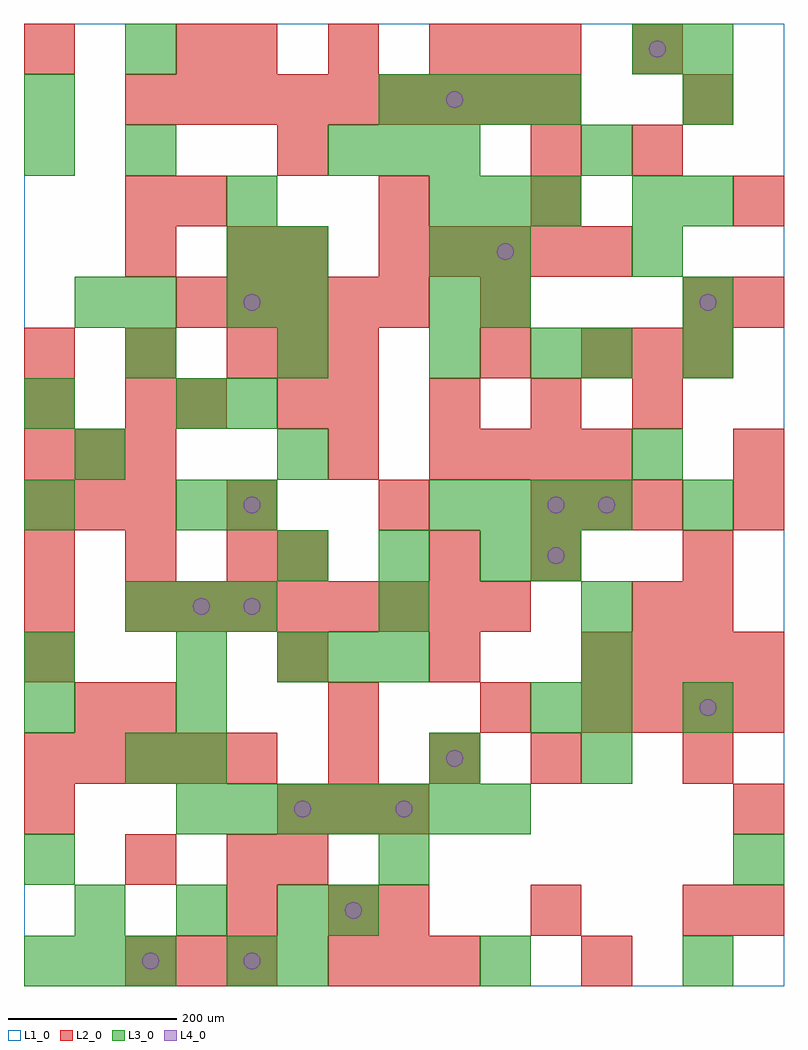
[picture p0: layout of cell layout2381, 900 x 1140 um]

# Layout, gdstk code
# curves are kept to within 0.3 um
import gdstk
lib = gdstk.Library(unit=1e-6, precision=1e-09)
def R(c, l, rs):  # rectangles x0, y0, x1, y1
    for r in rs: c.add(gdstk.rectangle(r[:2], r[2:], *l))
def A(c, l, x, y, w, h, nx, ny, dx, dy):  # array of equal rectangles
    R(c, l, [(x+i*dx, y+j*dy, x+i*dx+w, y+j*dy+h) for i in range(nx) for j in range(ny)])
def P(c, l, *ps):  # polygons
    for p in ps: c.add(gdstk.Polygon(p, *l))
L1_0 = (1, 0)
L2_0 = (2, 0)
L3_0 = (3, 0)
L4_0 = (4, 0)

layout2381 = lib.new_cell('layout2381')
R(layout2381, L1_0, [(0,0,900,1140)])
A(layout2381, L2_0, 120, 0, 60, 60, 3, 1, 60, 0)
A(layout2381, L2_0, 360, 0, 60, 60, 3, 1, 60, 0)
A(layout2381, L2_0, 420, 60, 60, 60, 3, 1, 180, 0)
A(layout2381, L2_0, 300, 180, 60, 60, 3, 1, 60, 0)
A(layout2381, L2_0, 0, 240, 60, 60, 5, 1, 60, 0)
A(layout2381, L2_0, 360, 240, 60, 60, 3, 1, 120, 0)
A(layout2381, L2_0, 660, 300, 60, 60, 4, 1, 60, 0)
A(layout2381, L2_0, 300, 360, 60, 60, 3, 1, 180, 0)
A(layout2381, L2_0, 720, 360, 60, 60, 3, 1, 60, 0)
A(layout2381, L2_0, 120, 420, 60, 60, 8, 1, 60, 0)
A(layout2381, L2_0, 0, 480, 60, 60, 3, 2, 120, 240)
A(layout2381, L2_0, 0, 540, 60, 60, 3, 2, 60, 60)
A(layout2381, L2_0, 240, 540, 60, 60, 3, 1, 180, 0)
A(layout2381, L2_0, 480, 600, 60, 60, 4, 1, 60, 0)
A(layout2381, L2_0, 360, 660, 60, 60, 4, 1, 120, 0)
A(layout2381, L2_0, 300, 720, 60, 60, 1, 3, 0, 120)
A(layout2381, L2_0, 660, 720, 60, 60, 3, 1, 60, 0)
A(layout2381, L2_0, 180, 780, 60, 60, 5, 1, 60, 0)
A(layout2381, L2_0, 420, 840, 60, 60, 5, 1, 60, 0)
A(layout2381, L2_0, 120, 1020, 60, 60, 9, 1, 60, 0)
A(layout2381, L2_0, 240, 1080, 60, 60, 3, 1, 120, 0)
R(layout2381, L2_0, [(660,0,720,60), (240,60,300,120), (360,60,420,120), (840,60,900,120), (120,120,180,180), (240,120,300,180), (300,120,360,180), (0,180,60,240), (840,180,900,240), (780,240,840,300), (60,300,120,360), (120,300,180,360), (360,300,420,360), (540,300,600,360), (0,360,60,420), (0,420,60,480), (720,420,780,480), (780,420,840,480), (300,480,360,540), (480,480,540,540), (600,480,660,540), (780,480,840,540), (660,540,720,600), (720,540,780,600), (840,540,900,600), (360,600,420,660), (840,600,900,660), (0,660,60,720), (120,660,180,720), (180,660,240,720), (300,660,360,720), (360,720,420,780), (540,720,600,780), (540,780,600,840), (780,780,840,840), (840,780,900,840), (120,840,180,900), (240,840,300,900), (120,900,180,960), (180,900,240,960), (420,900,480,960), (600,900,660,960), (840,900,900,960), (600,960,660,1020), (720,960,780,1020), (780,1020,840,1080), (0,1080,60,1140), (180,1080,240,1140), (540,1080,600,1140), (600,1080,660,1140), (720,1080,780,1140)])
A(layout2381, L3_0, 0, 0, 60, 60, 3, 1, 60, 0)
A(layout2381, L3_0, 300, 0, 60, 60, 3, 1, 240, 0)
A(layout2381, L3_0, 60, 60, 60, 60, 3, 1, 120, 0)
A(layout2381, L3_0, 0, 120, 60, 60, 3, 1, 420, 0)
A(layout2381, L3_0, 180, 180, 60, 60, 7, 1, 60, 0)
A(layout2381, L3_0, 180, 240, 60, 60, 1, 3, 0, 60)
A(layout2381, L3_0, 660, 240, 60, 60, 1, 4, 0, 60)
A(layout2381, L3_0, 300, 360, 60, 60, 3, 1, 60, 0)
A(layout2381, L3_0, 120, 420, 60, 60, 3, 1, 60, 0)
A(layout2381, L3_0, 300, 480, 60, 60, 3, 1, 120, 0)
A(layout2381, L3_0, 240, 540, 60, 60, 1, 3, 0, 120)
A(layout2381, L3_0, 480, 540, 60, 60, 4, 1, 60, 0)
A(layout2381, L3_0, 120, 720, 60, 60, 3, 1, 180, 0)
A(layout2381, L3_0, 780, 780, 60, 60, 1, 3, 0, 120)
A(layout2381, L3_0, 480, 900, 60, 60, 3, 1, 60, 0)
A(layout2381, L3_0, 360, 960, 60, 60, 3, 1, 60, 0)
A(layout2381, L3_0, 420, 1020, 60, 60, 4, 1, 60, 0)
R(layout2381, L3_0, [(240,0,300,60), (360,60,420,120), (120,240,180,300), (480,240,540,300), (0,300,60,360), (600,300,660,360), (780,300,840,360), (0,360,60,420), (420,420,480,480), (600,480,660,540), (0,540,60,600), (180,540,240,600), (780,540,840,600), (60,600,120,660), (300,600,360,660), (720,600,780,660), (0,660,60,720), (180,660,240,720), (600,720,660,780), (660,720,720,780), (780,720,840,780), (60,780,120,840), (120,780,180,840), (300,780,360,840), (480,780,540,840), (540,780,600,840), (240,840,300,900), (300,840,360,900), (480,840,540,900), (540,840,600,900), (720,840,780,900), (240,900,300,960), (720,900,780,960), (0,960,60,1020), (120,960,180,1020), (660,960,720,1020), (0,1020,60,1080), (120,1080,180,1140), (720,1080,780,1140), (780,1080,840,1140)])
P(layout2381, L4_0, [(160,30),(159.239,33.827),(157.071,37.071),(153.827,39.239),(150,40),(146.173,39.239),(142.929,37.071),(140.761,33.827),(140,30),(140.761,26.173),(142.929,22.929),(146.173,20.761),(150,20),(153.827,20.761),(157.071,22.929),(159.239,26.173)],
  [(220,450),(219.239,453.827),(217.071,457.071),(213.827,459.239),(210,460),(206.173,459.239),(202.929,457.071),(200.761,453.827),(200,450),(200.761,446.173),(202.929,442.929),(206.173,440.761),(210,440),(213.827,440.761),(217.071,442.929),(219.239,446.173)],
  [(280,30),(279.239,33.827),(277.071,37.071),(273.827,39.239),(270,40),(266.173,39.239),(262.929,37.071),(260.761,33.827),(260,30),(260.761,26.173),(262.929,22.929),(266.173,20.761),(270,20),(273.827,20.761),(277.071,22.929),(279.239,26.173)],
  [(280,450),(279.239,453.827),(277.071,457.071),(273.827,459.239),(270,460),(266.173,459.239),(262.929,457.071),(260.761,453.827),(260,450),(260.761,446.173),(262.929,442.929),(266.173,440.761),(270,440),(273.827,440.761),(277.071,442.929),(279.239,446.173)],
  [(280,570),(279.239,573.827),(277.071,577.071),(273.827,579.239),(270,580),(266.173,579.239),(262.929,577.071),(260.761,573.827),(260,570),(260.761,566.173),(262.929,562.929),(266.173,560.761),(270,560),(273.827,560.761),(277.071,562.929),(279.239,566.173)],
  [(280,810),(279.239,813.827),(277.071,817.071),(273.827,819.239),(270,820),(266.173,819.239),(262.929,817.071),(260.761,813.827),(260,810),(260.761,806.173),(262.929,802.929),(266.173,800.761),(270,800),(273.827,800.761),(277.071,802.929),(279.239,806.173)],
  [(340,210),(339.239,213.827),(337.071,217.071),(333.827,219.239),(330,220),(326.173,219.239),(322.929,217.071),(320.761,213.827),(320,210),(320.761,206.173),(322.929,202.929),(326.173,200.761),(330,200),(333.827,200.761),(337.071,202.929),(339.239,206.173)],
  [(400,90),(399.239,93.827),(397.071,97.071),(393.827,99.239),(390,100),(386.173,99.239),(382.929,97.071),(380.761,93.827),(380,90),(380.761,86.173),(382.929,82.929),(386.173,80.761),(390,80),(393.827,80.761),(397.071,82.929),(399.239,86.173)],
  [(460,210),(459.239,213.827),(457.071,217.071),(453.827,219.239),(450,220),(446.173,219.239),(442.929,217.071),(440.761,213.827),(440,210),(440.761,206.173),(442.929,202.929),(446.173,200.761),(450,200),(453.827,200.761),(457.071,202.929),(459.239,206.173)],
  [(520,270),(519.239,273.827),(517.071,277.071),(513.827,279.239),(510,280),(506.173,279.239),(502.929,277.071),(500.761,273.827),(500,270),(500.761,266.173),(502.929,262.929),(506.173,260.761),(510,260),(513.827,260.761),(517.071,262.929),(519.239,266.173)],
  [(520,1050),(519.239,1053.827),(517.071,1057.071),(513.827,1059.239),(510,1060),(506.173,1059.239),(502.929,1057.071),(500.761,1053.827),(500,1050),(500.761,1046.173),(502.929,1042.929),(506.173,1040.761),(510,1040),(513.827,1040.761),(517.071,1042.929),(519.239,1046.173)],
  [(580,870),(579.239,873.827),(577.071,877.071),(573.827,879.239),(570,880),(566.173,879.239),(562.929,877.071),(560.761,873.827),(560,870),(560.761,866.173),(562.929,862.929),(566.173,860.761),(570,860),(573.827,860.761),(577.071,862.929),(579.239,866.173)],
  [(640,510),(639.239,513.827),(637.071,517.071),(633.827,519.239),(630,520),(626.173,519.239),(622.929,517.071),(620.761,513.827),(620,510),(620.761,506.173),(622.929,502.929),(626.173,500.761),(630,500),(633.827,500.761),(637.071,502.929),(639.239,506.173)],
  [(640,570),(639.239,573.827),(637.071,577.071),(633.827,579.239),(630,580),(626.173,579.239),(622.929,577.071),(620.761,573.827),(620,570),(620.761,566.173),(622.929,562.929),(626.173,560.761),(630,560),(633.827,560.761),(637.071,562.929),(639.239,566.173)],
  [(700,570),(699.239,573.827),(697.071,577.071),(693.827,579.239),(690,580),(686.173,579.239),(682.929,577.071),(680.761,573.827),(680,570),(680.761,566.173),(682.929,562.929),(686.173,560.761),(690,560),(693.827,560.761),(697.071,562.929),(699.239,566.173)],
  [(760,1110),(759.239,1113.827),(757.071,1117.071),(753.827,1119.239),(750,1120),(746.173,1119.239),(742.929,1117.071),(740.761,1113.827),(740,1110),(740.761,1106.173),(742.929,1102.929),(746.173,1100.761),(750,1100),(753.827,1100.761),(757.071,1102.929),(759.239,1106.173)],
  [(820,330),(819.239,333.827),(817.071,337.071),(813.827,339.239),(810,340),(806.173,339.239),(802.929,337.071),(800.761,333.827),(800,330),(800.761,326.173),(802.929,322.929),(806.173,320.761),(810,320),(813.827,320.761),(817.071,322.929),(819.239,326.173)],
  [(820,810),(819.239,813.827),(817.071,817.071),(813.827,819.239),(810,820),(806.173,819.239),(802.929,817.071),(800.761,813.827),(800,810),(800.761,806.173),(802.929,802.929),(806.173,800.761),(810,800),(813.827,800.761),(817.071,802.929),(819.239,806.173)])

lib.write_gds('layout2381.gds')
